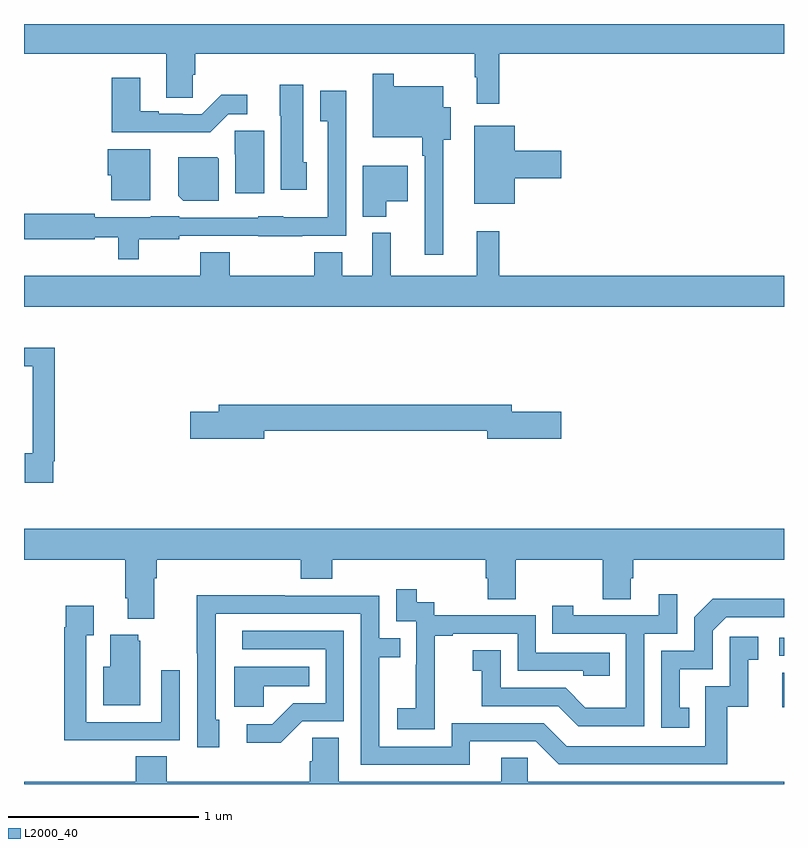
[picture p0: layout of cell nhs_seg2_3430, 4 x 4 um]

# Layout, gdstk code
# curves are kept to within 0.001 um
import gdstk
lib = gdstk.Library(unit=1e-6, precision=1e-09)
def R(c, l, rs):  # rectangles x0, y0, x1, y1
    for r in rs: c.add(gdstk.rectangle(r[:2], r[2:], *l))
def P(c, l, *ps):  # polygons
    for p in ps: c.add(gdstk.Polygon(p, *l))
L2000_40 = (2000, 40)

nhs_seg2_3430 = lib.new_cell('nhs_seg2_3430')
R(nhs_seg2_3430, L2000_40, [(294.992,636.204,295,636.385), (294.975,636.474,295,636.57)])
P(nhs_seg2_3430, L2000_40, [(293.501,639.644),(295,639.644),(295,639.8),(291,639.8),(291,639.644),(291.749,639.644),(291.749,639.412),(291.888,639.412),(291.888,639.534),(291.902,639.534),(291.902,639.644),(293.373,639.644),(293.373,639.521),(293.384,639.521),(293.384,639.381),(293.501,639.381)],
  [(293.206,639.191),(293.245,639.191),(293.245,639.361),(293.206,639.361),(293.206,639.472),(292.945,639.472),(292.945,639.538),(292.836,639.538),(292.836,639.203),(293.097,639.203),(293.097,639.107),(293.109,639.107),(293.109,638.586),(293.206,638.586)],
  [(292.074,639.324),(292.174,639.324),(292.174,639.427),(292.039,639.427),(291.936,639.324),(291.836,639.324),(291.836,639.327),(291.709,639.327),(291.709,639.34),(291.613,639.34),(291.613,639.517),(291.461,639.517),(291.461,639.23),(291.979,639.23)],
  [(292.489,639.072),(292.471,639.072),(292.471,639.481),(292.346,639.481),(292.346,639.318),(292.352,639.318),(292.352,638.928),(292.489,638.928)],
  [(291.604,638.666),(291.816,638.666),(291.816,638.685),(292.233,638.685),(292.233,638.684),(292.465,638.684),(292.465,638.685),(292.695,638.685),(292.695,639.207),(292.696,639.207),(292.696,639.448),(292.559,639.448),(292.559,639.287),(292.599,639.287),(292.599,638.782),(292.365,638.782),(292.365,638.788),(292.233,638.788),(292.233,638.781),(291.816,638.781),(291.816,638.788),(291.666,638.788),(291.666,638.782),(291.372,638.782),(291.372,638.801),(291,638.801),(291,638.666),(291.372,638.666),(291.372,638.678),(291.495,638.678),(291.495,638.561),(291.604,638.561)],
  [(293.584,638.987),(293.827,638.987),(293.827,639.134),(293.584,639.134),(293.584,639.265),(293.369,639.265),(293.369,638.855),(293.584,638.855)],
  [(292.264,639.237),(292.108,639.237),(292.108,639.114),(292.112,639.114),(292.112,638.91),(292.264,638.91)],
  [(291.664,639.142),(291.44,639.142),(291.44,639.003),(291.458,639.003),(291.458,638.873),(291.664,638.873)],
  [(292.024,639.092),(292.016,639.1),(291.812,639.1),(291.812,638.896),(291.838,638.87),(292.024,638.87)],
  [(292.906,638.867),(293.02,638.867),(293.02,639.055),(292.784,639.055),(292.784,638.786),(292.906,638.786)],
  [(295,638.476),(293.501,638.476),(293.501,638.71),(293.384,638.71),(293.384,638.476),(292.931,638.476),(292.931,638.701),(292.832,638.701),(292.832,638.476),(292.675,638.476),(292.675,638.6),(292.528,638.6),(292.528,638.476),(292.083,638.476),(292.083,638.6),(291.928,638.6),(291.928,638.476),(291,638.476),(291,638.312),(295,638.312)],
  [(291.154,637.498),(291.161,637.498),(291.161,638.096),(291,638.096),(291,637.998),(291.045,637.998),(291.045,637.542),(291.005,637.542),(291.005,637.386),(291.154,637.386)],
  [(292.264,637.66),(293.438,637.66),(293.438,637.618),(293.827,637.618),(293.827,637.76),(293.566,637.76),(293.566,637.796),(292.025,637.796),(292.025,637.76),(291.876,637.76),(291.876,637.618),(292.264,637.618)],
  [(291.685,636.884),(291.698,636.884),(291.698,636.98),(292.457,636.98),(292.457,636.881),(292.622,636.881),(292.622,636.98),(293.429,636.98),(293.429,636.882),(293.441,636.882),(293.441,636.772),(293.589,636.772),(293.589,636.98),(294.046,636.98),(294.046,636.772),(294.193,636.772),(294.193,636.882),(294.206,636.882),(294.206,636.98),(295,636.98),(295,637.144),(291,637.144),(291,636.98),(291.533,636.98),(291.533,636.778),(291.545,636.778),(291.545,636.671),(291.685,636.671)],
  [(293.163,636.295),(293.162,636.295),(293.162,636.579),(293.257,636.579),(293.257,636.591),(293.598,636.591),(293.598,636.396),(293.943,636.396),(293.943,636.369),(294.083,636.369),(294.083,636.492),(293.694,636.492),(293.694,636.687),(293.16,636.687),(293.16,636.756),(293.068,636.756),(293.068,636.826),(292.959,636.826),(292.959,636.657),(293.064,636.657),(293.064,636.428),(293.063,636.428),(293.063,636.199),(292.965,636.199),(292.965,636.089),(293.163,636.089)],
  [(294.264,636.591),(294.438,636.591),(294.438,636.799),(294.341,636.799),(294.341,636.687),(293.89,636.687),(293.89,636.739),(293.779,636.739),(293.779,636.591),(294.168,636.591),(294.168,636.202),(293.954,636.202),(293.85,636.306),(293.508,636.306),(293.508,636.505),(293.361,636.505),(293.361,636.395),(293.41,636.395),(293.41,636.21),(293.813,636.21),(293.918,636.105),(294.264,636.105)],
  [(293.347,636.024),(293.694,636.024),(293.814,635.904),(294.701,635.904),(294.701,636.207),(294.812,636.207),(294.812,636.453),(294.865,636.453),(294.865,636.574),(294.714,636.574),(294.714,636.315),(294.585,636.315),(294.585,636),(293.856,636),(293.736,636.12),(293.25,636.12),(293.25,635.997),(292.869,635.997),(292.869,636.466),(292.979,636.466),(292.979,636.567),(292.869,636.567),(292.869,636.792),(292.373,636.792),(292.373,636.794),(291.91,636.794),(291.91,636.487),(291.912,636.487),(291.912,635.994),(292.027,635.994),(292.027,636.138),(292.008,636.138),(292.009,636.696),(292.773,636.696),(292.773,635.901),(293.347,635.901)],
  [(294.5,636.201),(294.451,636.201),(294.451,636.405),(294.624,636.405),(294.624,636.606),(294.696,636.678),(295,636.678),(295,636.776),(294.626,636.776),(294.528,636.678),(294.528,636.501),(294.354,636.501),(294.354,636.096),(294.5,636.096)],
  [(291.503,636.03),(291.819,636.03),(291.819,636.4),(291.723,636.4),(291.723,636.126),(291.327,636.126),(291.327,636.583),(291.367,636.583),(291.367,636.739),(291.219,636.739),(291.219,636.626),(291.211,636.626),(291.211,636.029),(291.503,636.029)],
  [(292.464,636.129),(292.683,636.129),(292.683,636.606),(292.149,636.606),(292.149,636.51),(292.587,636.51),(292.587,636.225),(292.418,636.225),(292.307,636.114),(292.173,636.114),(292.173,636.017),(292.351,636.017)],
  [(291.613,636.555),(291.602,636.555),(291.602,636.586),(291.455,636.586),(291.455,636.418),(291.416,636.418),(291.416,636.215),(291.613,636.215)],
  [(292.263,636.314),(292.502,636.314),(292.502,636.418),(292.106,636.418),(292.106,636.206),(292.263,636.206)],
  [(295,635.812),(293.652,635.812),(293.652,635.939),(293.513,635.939),(293.513,635.812),(292.657,635.812),(292.657,636.044),(292.518,636.044),(292.518,635.921),(292.505,635.921),(292.505,635.812),(291.752,635.812),(291.752,635.945),(291.587,635.945),(291.587,635.812),(291,635.812),(291,635.8),(295,635.8)])

lib.write_gds('nhs_seg2_3430.gds')
